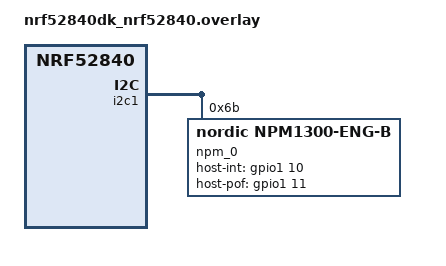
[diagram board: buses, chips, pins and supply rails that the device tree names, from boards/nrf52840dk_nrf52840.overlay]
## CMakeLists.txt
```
#
# Copyright (c) 2023 Nordic Semiconductor ASA
#
# SPDX-License-Identifier: LicenseRef-Nordic-5-Clause
#

cmake_minimum_required(VERSION 3.20.0)
find_package(Zephyr REQUIRED HINTS $ENV{ZEPHYR_BASE})
project(pmic_pof)

FILE(GLOB app_sources src/*.c)
target_sources(app PRIVATE ${app_sources})
```

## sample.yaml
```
sample:
  description: Sample for nPM1300 PMIC POF
  name: nPM1300 PMIC POF

common:
  integration_platforms:
    - nrf5340dk_nrf5340_cpuapp
    - nrf52840dk_nrf52840
  platform_allow: nrf5340dk_nrf5340_cpuapp nrf52840dk_nrf52840
  tags: pmic
  timeout: 30

tests:
  sample.pmic.pof_eng_b:
    extra_args: CONFIG_NPMX_DEVICE_NPM1300_ENG_B=y
    harness: console
    harness_config:
      fixture: nPM1300_setup_eng_b
      type: multi_line
      ordered: true
      regex:
        - "PMIC device ok"
        - "Successfully registered callback"
```

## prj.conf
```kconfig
#
# Copyright (c) 2023 Nordic Semiconductor ASA
#
# SPDX-License-Identifier: LicenseRef-Nordic-5-Clause
#

CONFIG_SERIAL=y
CONFIG_CONSOLE=y
CONFIG_UART_CONSOLE=y

CONFIG_I2C=y
CONFIG_NPMX=y
CONFIG_NPMX_DEVICE_NPM1300_ENG_B=y
CONFIG_LOG=y
CONFIG_NPMX_LOG_LEVEL_DBG=y
CONFIG_SHELL=y
CONFIG_ASSERT=y

# Core Dump configuraion
CONFIG_DEBUG_COREDUMP=y
CONFIG_DEBUG_COREDUMP_BACKEND_LOGGING=y
```

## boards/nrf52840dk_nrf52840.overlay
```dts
/*
 * Copyright (c) 2023 Nordic Semiconductor ASA
 *
 * SPDX-License-Identifier: LicenseRef-Nordic-5-Clause
 */

&i2c1 {
	compatible = "nordic,nrf-twim";
	status = "okay";

	npm_0: npm1300@6b {
		status = "okay";
		compatible = "nordic,npm1300-eng-b";
		reg = <0x6b>;
		host-int-gpios = <&gpio1 10 (GPIO_PULL_DOWN | GPIO_ACTIVE_HIGH)>;
		pmic-int-pin = <0>;
		host-pof-gpios = <&gpio1 11 (GPIO_PULL_DOWN | GPIO_ACTIVE_HIGH)>;
		pmic-pof-pin = <1>;
	};
};

&i2c1_default {
	group1 {
		psels = <NRF_PSEL(TWIM_SDA, 0, 26)>, <NRF_PSEL(TWIM_SCL, 0, 27)>;
		bias-pull-up;
	};
};
```

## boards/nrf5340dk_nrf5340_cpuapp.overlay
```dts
/*
 * Copyright (c) 2023 Nordic Semiconductor ASA
 *
 * SPDX-License-Identifier: LicenseRef-Nordic-5-Clause
 */

&i2c1 {
	compatible = "nordic,nrf-twim";
	status = "okay";

	npm_0: npm1300@6b {
		status = "okay";
		compatible = "nordic,npm1300-eng-b";
		reg = <0x6b>;
		host-int-gpios = <&gpio1 10 (GPIO_PULL_DOWN | GPIO_ACTIVE_HIGH)>;
		pmic-int-pin = <0>;
		host-pof-gpios = <&gpio1 11 (GPIO_PULL_DOWN | GPIO_ACTIVE_HIGH)>;
		pmic-pof-pin = <1>;
	};
};

&i2c1_default {
	group1 {
		bias-pull-up;
	};
};
```

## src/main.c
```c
/*
 * Copyright (c) 2023 Nordic Semiconductor ASA
 *
 * SPDX-License-Identifier: LicenseRef-Nordic-5-Clause
 */

#include <zephyr/logging/log.h>
#include <npmx_driver.h>
#include <npmx_led.h>

#define LOG_MODULE_NAME pmic_pof
LOG_MODULE_REGISTER(LOG_MODULE_NAME);

/**
 * @brief Function called when battery voltage drops below the configured threshold.
 *
 * @param[in] p_pm Pointer to the instance of an nPM device.
 */
void my_pof_callback(npmx_instance_t *p_pm)
{
	LOG_INF("POF callback");
}

void main(void)
{
	const struct device *pmic_dev = DEVICE_DT_GET(DT_NODELABEL(npm_0));

	if (!device_is_ready(pmic_dev)) {
		LOG_INF("PMIC device is not ready");
		return;
	}

	LOG_INF("PMIC device ok");

	/* Set configuration for the power fail comparator. */
	npmx_pof_config_t config = {
		.status = NPMX_POF_STATUS_ENABLE,
		.threshold = NPMX_POF_THRESHOLD_3V0,
		.polarity = NPMX_POF_POLARITY_HIGH,
	};

	/* Configure and register a callback. */
	if (npmx_driver_register_pof_cb(pmic_dev, &config, my_pof_callback) == 0) {
		LOG_INF("Successfully registered callback");
	}
}
```
